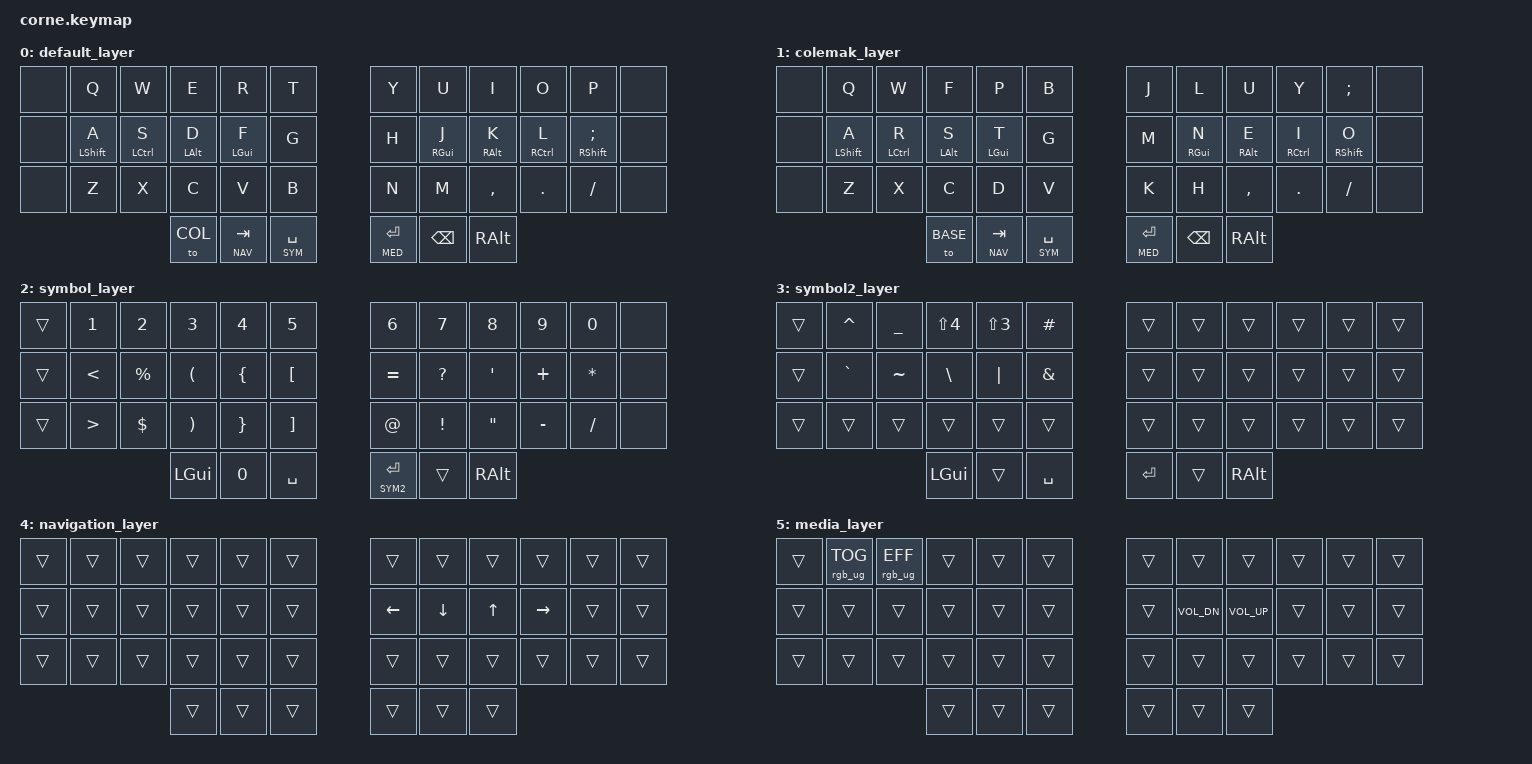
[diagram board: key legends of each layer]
/*
 * Copyright (c) 2020 The ZMK Contributors
 *
 * SPDX-License-Identifier: MIT
 */

#include <behaviors.dtsi>
#include <dt-bindings/zmk/backlight.h>
#include <dt-bindings/zmk/keys.h>
#include <dt-bindings/zmk/rgb.h>

#define BASE  0 
#define COL  1
#define SYM   2 
#define SYM2  3 
#define NAV  4 
#define MED  5 

&lt {
  flavor = "balanced";
  tapping-term-ms = <200>;
  quick-tap-ms = <175>;
};

&mt {
  quick-tap-ms = <175>;
  flavor = "balanced";
  hold-trigger-on-release;
};

/ {
  combos {
    compatible = "zmk,combos";
    combo_esc {
      timeout-ms = <50>;
      key-positions = <1 2>;
      bindings = <&kp ESC>;
    };
  };
};

/ {
    keymap {
        compatible = "zmk,keymap";

        default_layer {
            // -----------------------------------------------------------------------------------------
            // |  TAB |  Q  |  W  |  E  |  R  |  T  |   |  Y  |  U   |  I  |  O  |  P  | BSPC |
            // | CTRL |  A  |  S  |  D  |  F  |  G  |   |  H  |  J   |  K  |  L  |  ;  |  '   |
            // | SHFT |  Z  |  X  |  C  |  V  |  B  |   |  N  |  M   |  ,  |  .  |  /  | ESC  |
            //                    | GUI | LWR | SPC |   | ENT | RSE  | ALT |

            bindings = <
  &none   &kp Q        &kp W               &kp E       &kp R       &kp T        &kp Y      &kp U       &kp I       &kp O        &kp P &none
  &none   &mt LSHFT A  &mt LEFT_CONTROL S  &mt LALT D  &mt LGUI F  &kp G        &kp H      &mt RGUI J  &mt RALT K  &mt RCTRL L  &mt RSHFT SEMI  &none
  &none   &kp Z        &kp X               &kp C       &kp V       &kp B        &kp N      &kp M       &kp COMMA   &kp DOT      &kp FSLH &none
                                   &to COL   &lt NAV TAB   &lt SYM SPACE    &lt MED RET  &kp BSPC       &kp RALT
            >;
        };

        colemak_layer {
            bindings = <
  &none   &kp Q        &kp W               &kp F       &kp P       &kp B        &kp J      &kp L       &kp U       &kp Y        &kp SEMI &none
  &none   &mt LSHFT A  &mt LEFT_CONTROL R  &mt LALT S  &mt LGUI T  &kp G        &kp M      &mt RGUI N  &mt RALT E  &mt RCTRL I  &mt RSHFT O  &none
  &none   &kp Z        &kp X               &kp C       &kp D       &kp V        &kp K      &kp H       &kp COMMA   &kp DOT      &kp FSLH &none
                                   &to BASE &lt NAV TAB   &lt SYM SPACE    &lt MED RET  &kp BSPC       &kp RALT
            >;
        };

        symbol_layer {
            // -----------------------------------------------------------------------------------------
            // |  TAB |  1  |  2  |  3  |  4  |  5  |   |  6  |  7  |  8  |  9  |  0  | BSPC |
            // | BTCLR| BT1 | BT2 | BT3 | BT4 | BT5 |   | LFT | DWN |  UP | RGT |     |      |
            // | SHFT |     |     |     |     |     |   |     |     |     |     |     |      |
            //                    | GUI |     | SPC |   | ENT |     | ALT |

            bindings = <
  &trans   &kp N1  &kp N2  &kp N3         &kp N4      &kp N5      &kp N6    &kp N7    &kp N8    &kp N9    &kp N0  &none
  &trans   &kp LT  &kp PRCNT  &kp LPAR    &kp LBRC    &kp LBKT    &kp EQUAL &kp QMARK  &kp APOS   &kp PLUS  &kp ASTRK  &none
  &trans   &kp GT  &kp DLLR   &kp RPAR    &kp RBRC    &kp RBKT    &kp AT    &kp EXCL   &kp DQT    &kp MINUS &kp FSLH  &none
                    &kp LGUI  &kp N0      &kp SPACE    &lt SYM2 RET   &trans    &kp RALT
            >;
        };

        symbol2_layer {
            // -----------------------------------------------------------------------------------------
            // |  TAB |  !  |  @  |  #  |  $  |  %  |   |  ^  |  &  |  *  |  (  |  )  | BSPC |
            // | CTRL |     |     |     |     |     |   |  -  |  =  |  [  |  ]  |  \  |  `   |
            // | SHFT |     |     |     |     |     |   |  _  |  +  |  {  |  }  | "|" |  ~   |
            //                    | GUI |     | SPC |   | ENT |     | ALT |

            bindings = <
  &trans  &kp CARET  &kp UNDER    &kp LS(N4)  &kp LS(N3)  &kp HASH   &trans  &trans   &trans  &trans  &trans  &trans
  &trans  &kp GRAVE  &kp TILDE    &kp BSLH   &kp PIPE  &kp AMPS   &trans  &trans   &trans  &trans  &trans  &trans
  &trans  &trans    &trans  &trans    &trans    &trans            &trans  &trans   &trans  &trans  &trans  &trans
                    &kp LGUI  &trans    &kp SPACE    &kp RET    &trans     &kp RALT
            >;
        };

        navigation_layer {
            bindings = <
  &trans  &trans  &trans    &trans  &trans  &trans   &trans  &trans   &trans  &trans  &trans  &trans
  &trans  &trans  &trans    &trans   &trans  &trans   &kp LEFT  &kp DOWN   &kp UP  &kp RIGHT  &trans  &trans
  &trans  &trans    &trans  &trans    &trans    &trans  &trans  &trans   &trans  &trans  &trans  &trans
                    &trans  &trans    &trans    &trans    &trans     &trans
            >;
        };

        media_layer {
            bindings = <
  &trans  &rgb_ug RGB_TOG  &rgb_ug RGB_EFF  &trans  &trans  &trans    &trans  &trans  &trans        &trans           &trans &trans
  &trans      &trans        &trans  &trans  &trans    &trans  &trans  &kp C_VOL_DN  &kp C_VOLUME_UP  &trans &trans  &trans
  &trans      &trans        &trans  &trans  &trans    &trans  &trans  &trans        &trans           &trans &trans  &trans
                            &trans  &trans  &trans    &trans  &trans  &trans
            >;
        };
    };
};
